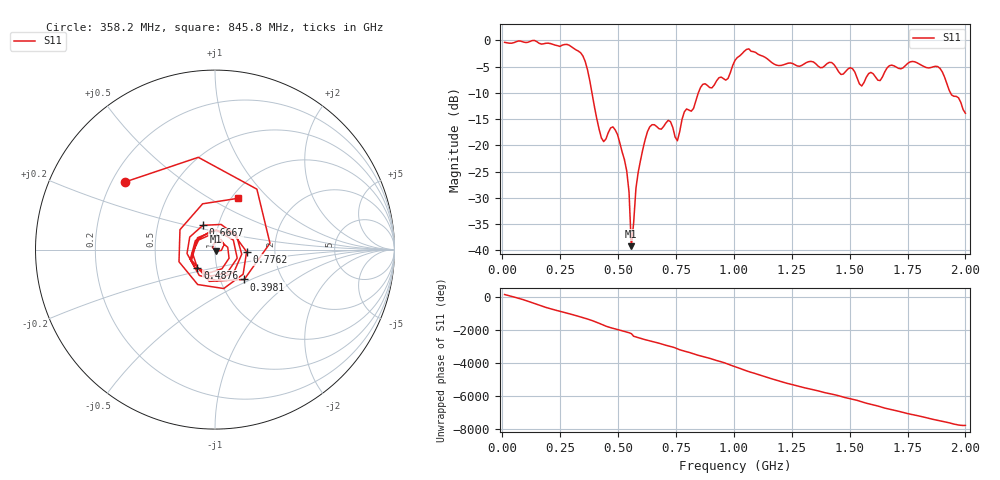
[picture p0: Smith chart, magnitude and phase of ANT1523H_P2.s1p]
!Created with skrf (http://scikit-rf.org).
# Hz S RI R 50.0
!freq ReS11 ImS11
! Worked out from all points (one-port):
!   201 points, 10 MHz to 2 GHz, reference 50 ohm
!   lowest |S11| = -39.2 dB at 557.2 MHz (marker M1), VSWR 1.02, Z = 50.5 - j0.987 ohm
!   |S11| at or under -10 dB: 387.2 MHz to 846.6 MHz (459.4 MHz wide, 74.5 % of centre); 1.936 GHz to end of sweep
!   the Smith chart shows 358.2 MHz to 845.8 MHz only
!   S11 on the Smith chart (normalised r, x): 358.2 MHz: 0.25, +0.31; 398.1 MHz: 1.30, -0.46; 487.6 MHz: 0.81, -0.16; 666.7 MHz: 0.84, +0.23; 776.1 MHz: 1.43, -0.04; 845.8 MHz: 1.07, +0.68
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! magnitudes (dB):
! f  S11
! 10 MHz  -0.4
! 258.8 MHz  -0.9
! 358.2 MHz  -4.0
! 398.1 MHz  -12.7
! 437.9 MHz  -19.3
! 487.6 MHz  -17.0
! 507.5 MHz  -19.5
! 537.4 MHz  -24.9
! 547.3 MHz  -28.9
! 557.2 MHz  -39.2
! 577.1 MHz  -28.2
! 607 MHz  -20.7
! 636.9 MHz  -16.5
! 666.7 MHz  -16.4
! 726.4 MHz  -15.5
! 756.2 MHz  -19.1
! 776.1 MHz  -15.1
! 845.8 MHz  -10.1
! 975.1 MHz  -7.2
! 1.005 GHz  -3.8
! 1.065 GHz  -1.6
! 1.254 GHz  -4.4
! 1.502 GHz  -5.2
! 1.552 GHz  -8.7
! 1.592 GHz  -6.1
! 1.751 GHz  -4.4
! 1.891 GHz  -5.3
! 2 GHz  -13.9
